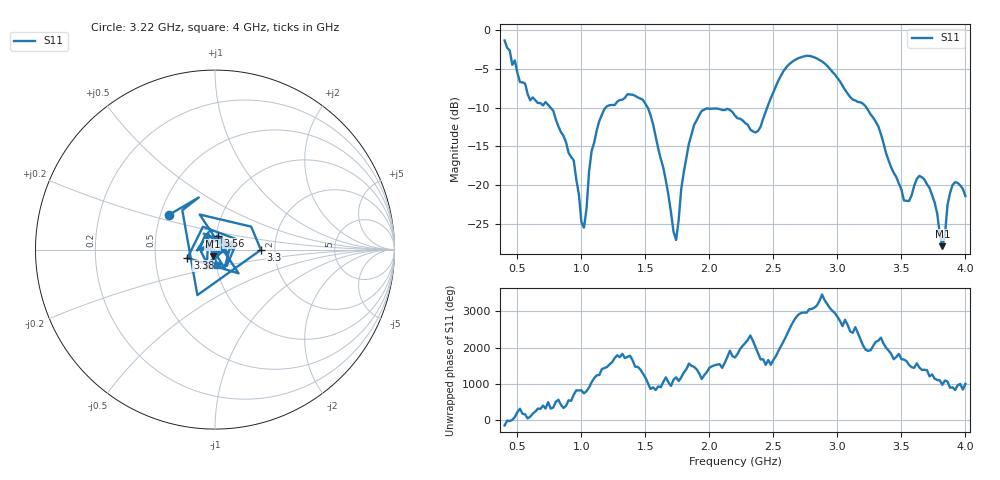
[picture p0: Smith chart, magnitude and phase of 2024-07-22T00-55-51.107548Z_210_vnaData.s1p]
!Created with skrf (http://scikit-rf.org).
# Hz S RI R 50.0
!freq ReS11 ImS11
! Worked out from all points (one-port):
!   181 points, 400 MHz to 4 GHz, reference 50 ohm
!   lowest |S11| = -27.9 dB at 3.82 GHz (marker M1), VSWR 1.08, Z = 48.6 - j3.73 ohm
!   |S11| at or under -10 dB: 758 MHz to 1.19 GHz (432.1 MHz wide, 44.4 % of centre); 1.518 GHz to 2.452 GHz (933.6 MHz wide, 47 % of centre); 3.226 GHz to end of sweep
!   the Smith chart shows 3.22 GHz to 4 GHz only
!   S11 on the Smith chart (normalised r, x): 3.22 GHz: 0.55, +0.24; 3.3 GHz: 1.69, -0.01; 3.38 GHz: 0.73, -0.07; 3.56 GHz: 1.02, +0.16; 4 GHz: 1.01, -0.17
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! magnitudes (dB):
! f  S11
! 400 MHz  -1.3
! 600 MHz  -9.1
! 720 MHz  -9.3
! 860 MHz  -13.7
! 940 MHz  -16.8
! 1.02 GHz  -25.5
! 1.08 GHz  -15.6
! 1.14 GHz  -11.7
! 1.3 GHz  -9.0
! 1.52 GHz  -10.1
! 1.72 GHz  -26.1
! 1.76 GHz  -24.5
! 1.84 GHz  -14.7
! 1.92 GHz  -11.0
! 2.2 GHz  -11.0
! 2.38 GHz  -13.0
! 2.66 GHz  -3.9
! 2.88 GHz  -4.0
! 3.1 GHz  -8.7
! 3.22 GHz  -9.8
! 3.3 GHz  -11.8
! 3.38 GHz  -15.9
! 3.56 GHz  -22.1
! 3.68 GHz  -19.3
! 3.76 GHz  -22.3
! 3.82 GHz  -27.9
! 3.9 GHz  -20.0
! 4 GHz  -21.4
